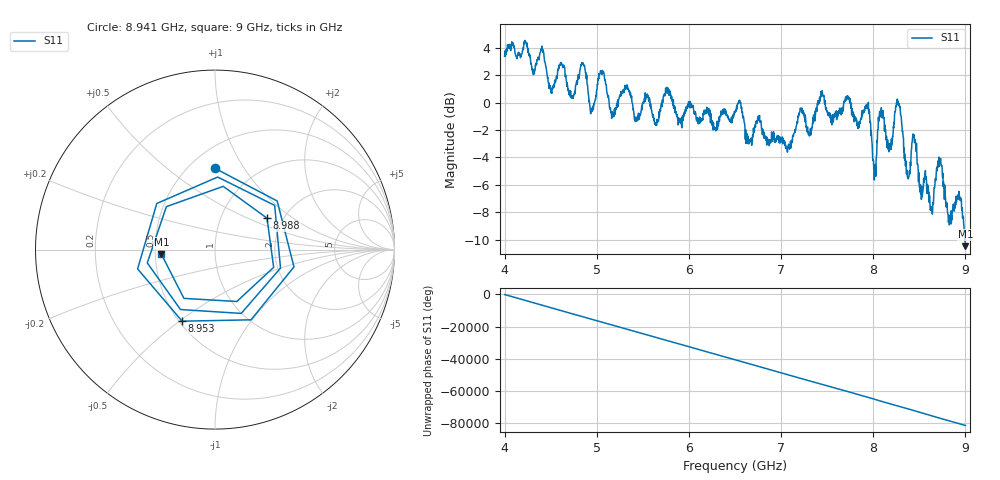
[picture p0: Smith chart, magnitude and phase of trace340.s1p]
! Created with skrf 1.8.0 (http://scikit-rf.org).
# Hz S RI R 50.0
!freq ReS11 ImS11
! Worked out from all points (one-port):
!   1601 points, 4 GHz to 9 GHz, reference 50 ohm
!   lowest |S11| = -10.5 dB at 9 GHz (marker M1), VSWR 1.86, Z = 27 - j1.55 ohm
!   |S11| at or under -10 dB: 8.99371 GHz to 8.994919 GHz (1.209 MHz wide, 0.0134 % of centre); 8.997772 GHz to end of sweep
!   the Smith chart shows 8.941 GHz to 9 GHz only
!   S11 on the Smith chart (normalised r, x): 8.941 GHz: 0.66, +0.75; 8.953 GHz: 0.52, -0.51; 8.988 GHz: 1.65, +0.65; 9 GHz: 0.54, -0.03
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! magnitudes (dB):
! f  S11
! 4 GHz  3.4
! 4.406 GHz  4.1
! 4.509 GHz  0.8
! 4.625 GHz  2.8
! 4.734 GHz  0.5
! 4.856 GHz  2.7
! 4.947 GHz  -0.6
! 5.05 GHz  2.2
! 5.162 GHz  -1.1
! 5.25 GHz  0.5
! 5.875 GHz  -1.0
! 6.5 GHz  -0.6
! 7.125 GHz  -2.5
! 7.75 GHz  -0.1
! 7.938 GHz  -0.1
! 8.012 GHz  -5.6
! 8.081 GHz  -0.9
! 8.175 GHz  -3.0
! 8.269 GHz  0.1
! 8.375 GHz  -5.5
! 8.444 GHz  -2.4
! 8.628 GHz  -7.6
! 8.719 GHz  -4.2
! 8.828 GHz  -8.9
! 8.941 GHz  -6.9
! 8.953 GHz  -7.2
! 8.988 GHz  -9.4
! 9 GHz  -10.5
